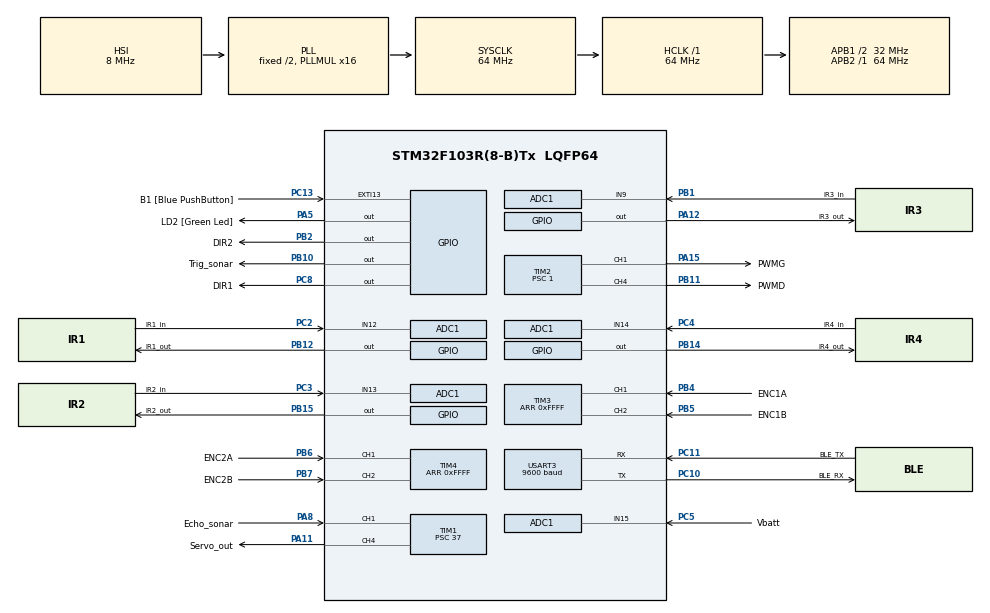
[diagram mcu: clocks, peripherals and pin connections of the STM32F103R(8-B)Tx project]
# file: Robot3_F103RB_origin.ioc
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ADC1.AWD1HighThreshold=4095
ADC1.AWD1ITMode=ENABLE
ADC1.AWD1LowThreshold=3475
ADC1.Channel-0\#ChannelRegularConversion=ADC_CHANNEL_9
ADC1.Channel-1\#ChannelRegularConversion=ADC_CHANNEL_12
ADC1.Channel-2\#ChannelRegularConversion=ADC_CHANNEL_13
ADC1.Channel-3\#ChannelRegularConversion=ADC_CHANNEL_14
ADC1.Channel-4\#ChannelRegularConversion=ADC_CHANNEL_15
ADC1.ContinuousConvMode=DISABLE
ADC1.DataAlign=ADC_DATAALIGN_RIGHT
ADC1.DiscontinuousConvMode=DISABLE
ADC1.EnableAnalogWatchDog=true
ADC1.EnableRegularConversion=ENABLE
ADC1.ExternalTrigConv=ADC_SOFTWARE_START
ADC1.InjNumberOfConversion=0
ADC1.NbrOfConversion=5
ADC1.NbrOfConversionFlag=1
ADC1.Rank-0\#ChannelRegularConversion=1
ADC1.Rank-1\#ChannelRegularConversion=2
ADC1.Rank-2\#ChannelRegularConversion=3
ADC1.Rank-3\#ChannelRegularConversion=4
ADC1.Rank-4\#ChannelRegularConversion=5
ADC1.SamplingTime-0\#ChannelRegularConversion=ADC_SAMPLETIME_239CYCLES_5
ADC1.SamplingTime-1\#ChannelRegularConversion=ADC_SAMPLETIME_239CYCLES_5
ADC1.SamplingTime-2\#ChannelRegularConversion=ADC_SAMPLETIME_239CYCLES_5
ADC1.SamplingTime-3\#ChannelRegularConversion=ADC_SAMPLETIME_239CYCLES_5
ADC1.SamplingTime-4\#ChannelRegularConversion=ADC_SAMPLETIME_239CYCLES_5
ADC1.ScanConvMode=ADC_SCAN_ENABLE
ADC1.WatchdogChannel=ADC_CHANNEL_15
ADC1.master=1
Dma.ADC1.0.Direction=DMA_PERIPH_TO_MEMORY
Dma.ADC1.0.Instance=DMA1_Channel1
Dma.ADC1.0.MemDataAlignment=DMA_MDATAALIGN_HALFWORD
Dma.ADC1.0.MemInc=DMA_MINC_ENABLE
Dma.ADC1.0.Mode=DMA_CIRCULAR
Dma.ADC1.0.PeriphDataAlignment=DMA_PDATAALIGN_HALFWORD
Dma.ADC1.0.PeriphInc=DMA_PINC_DISABLE
Dma.ADC1.0.Priority=DMA_PRIORITY_LOW
Dma.Request0=ADC1
Mcu.Family=STM32F1
Mcu.Name=STM32F103R(8-B)Tx
Mcu.Package=LQFP64
NVIC.ADC1_2_IRQn=true\:0\:0\:false\:false\:true\:true
NVIC.DMA1_Channel1_IRQn=true\:0\:0\:false\:false\:true\:true
NVIC.EXTI15_10_IRQn=true\:0\:0\:false\:true\:true\:1\:true
NVIC.PriorityGroup=NVIC_PRIORITYGROUP_4
NVIC.TIM1_CC_IRQn=true\:0\:0\:false\:false\:true\:true
NVIC.TIM2_IRQn=true\:0\:0\:false\:false\:true\:true
NVIC.USART3_IRQn=true\:0\:0\:false\:true\:true\:2\:true
PA11.GPIO_Label=Servo_out
PA11.GPIO_Speed=GPIO_SPEED_FREQ_HIGH
PA11.Signal=S_TIM1_CH4
PA12.GPIO_Label=IR3_out
PA12.Signal=GPIO_Output
PA13.GPIO_Label=TMS
PA13.Mode=Serial_Wire
PA13.Signal=SYS_JTMS-SWDIO
PA14.GPIO_Label=TCK
PA14.Mode=Serial_Wire
PA14.Signal=SYS_JTCK-SWCLK
PA15.GPIO_Label=PWMG
PA15.Signal=S_TIM2_CH1_ETR
PA2.GPIO_Label=USART_TX
PA2.GPIO_Mode=GPIO_MODE_AF_PP
PA2.GPIO_PuPd=GPIO_NOPULL
PA2.GPIO_Speed=GPIO_SPEED_FREQ_LOW
PA2.Signal=USART2_TX
PA3.GPIO_Label=USART_RX
PA3.GPIO_Mode=GPIO_MODE_AF_PP
PA3.GPIO_PuPd=GPIO_NOPULL
PA3.GPIO_Speed=GPIO_SPEED_FREQ_LOW
PA3.Signal=USART2_RX
PA5.GPIO_Label=LD2 [Green Led]
PA5.GPIO_ModeDefaultOutputPP=GPIO_MODE_OUTPUT_PP
PA5.GPIO_PuPd=GPIO_NOPULL
PA5.GPIO_Speed=GPIO_SPEED_FREQ_LOW
PA5.Signal=GPIO_Output
PA8.GPIO_Label=Echo_sonar
PA8.Signal=S_TIM1_CH1
PB1.GPIO_Label=IR3_in
PB1.Signal=ADCx_IN9
PB10.GPIO_Label=Trig_sonar
PB10.Signal=GPIO_Output
PB11.GPIO_Label=PWMD
PB11.Signal=S_TIM2_CH4
PB12.GPIO_Label=IR1_out
PB12.Signal=GPIO_Output
PB14.GPIO_Label=IR4_out
PB14.Signal=GPIO_Output
PB15.GPIO_Label=IR2_out
PB15.Signal=GPIO_Output
PB2.GPIO_Label=DIR2
PB2.Signal=GPIO_Output
PB3.GPIO_Label=SWO
PB3.Signal=SYS_JTDO-TRACESWO
PB4.GPIO_Label=ENC1A
PB4.Signal=S_TIM3_CH1
PB5.GPIO_Label=ENC1B
PB5.Signal=S_TIM3_CH2
PB6.GPIO_Label=ENC2A
PB6.Signal=S_TIM4_CH1
PB7.GPIO_Label=ENC2B
PB7.Signal=S_TIM4_CH2
PC10.GPIO_Label=BLE_RX
PC10.Mode=Asynchronous
PC10.Signal=USART3_TX
PC11.GPIO_Label=BLE_TX
PC11.Mode=Asynchronous
PC11.Signal=USART3_RX
PC13-TAMPER-RTC.GPIO_Label=B1 [Blue PushButton]
PC13-TAMPER-RTC.GPIO_ModeDefaultEXTI=GPIO_MODE_IT_FALLING
PC13-TAMPER-RTC.GPIO_PuPd=GPIO_NOPULL
PC13-TAMPER-RTC.Signal=GPXTI13
PC14-OSC32_IN.Signal=RCC_OSC32_IN
PC15-OSC32_OUT.Signal=RCC_OSC32_OUT
PC2.GPIO_Label=IR1_in
PC2.Signal=ADCx_IN12
PC3.GPIO_Label=IR2_in
PC3.Signal=ADCx_IN13
PC4.GPIO_Label=IR4_in
PC4.Signal=ADCx_IN14
PC5.GPIO_Label=Vbatt
PC5.Signal=ADCx_IN15
PC8.GPIO_Label=DIR1
PC8.Signal=GPIO_Output
PD0-OSC_IN.Signal=RCC_OSC_IN
PD1-OSC_OUT.Signal=RCC_OSC_OUT
ProjectManager.HeapSize=0x200
ProjectManager.StackSize=0x400
ProjectManager.TargetToolchain=TrueSTUDIO
RCC.ADCPresc=RCC_ADCPCLK2_DIV8
RCC.AHBFreq_Value=64000000
RCC.APB1CLKDivider=RCC_HCLK_DIV2
RCC.APB1Freq_Value=32000000
RCC.APB1TimFreq_Value=64000000
RCC.APB2Freq_Value=64000000
RCC.APB2TimFreq_Value=64000000
RCC.HCLKFreq_Value=64000000
RCC.PLLMUL=RCC_PLL_MUL16
RCC.SYSCLKFreq_VALUE=64000000
RCC.SYSCLKSource=RCC_SYSCLKSOURCE_PLLCLK
RCC.USBFreq_Value=64000000
SH.ADCx_IN12.0=ADC1_IN12,IN12
SH.ADCx_IN13.0=ADC1_IN13,IN13
SH.ADCx_IN14.0=ADC1_IN14,IN14
SH.ADCx_IN15.0=ADC1_IN15,IN15
SH.ADCx_IN9.0=ADC1_IN9,IN9
SH.S_TIM1_CH1.0=TIM1_CH1,PWM_Input_1
SH.S_TIM1_CH4.0=TIM1_CH4,PWM Generation4 CH4
SH.S_TIM2_CH1_ETR.0=TIM2_CH1,PWM Generation1 CH1
SH.S_TIM2_CH4.0=TIM2_CH4,PWM Generation4 CH4
SH.S_TIM3_CH1.0=TIM3_CH1,Encoder_Interface
SH.S_TIM3_CH2.0=TIM3_CH2,Encoder_Interface
SH.S_TIM4_CH1.0=TIM4_CH1,Encoder_Interface
SH.S_TIM4_CH2.0=TIM4_CH2,Encoder_Interface
TIM1.Channel-PWM\ Generation4\ CH4=TIM_CHANNEL_4
TIM1.Period=65535
TIM1.Prescaler=37
TIM2.AutoReloadPreload=TIM_AUTORELOAD_PRELOAD_DISABLE
TIM2.Channel-PWM\ Generation1\ CH1=TIM_CHANNEL_1
TIM2.Channel-PWM\ Generation4\ CH4=TIM_CHANNEL_4
TIM2.Period=64000
TIM2.Prescaler=1
TIM3.AutoReloadPreload=TIM_AUTORELOAD_PRELOAD_ENABLE
TIM3.EncoderMode=TIM_ENCODERMODE_TI12
TIM3.IC1Filter=8
TIM3.IC1Polarity=TIM_ICPOLARITY_RISING
TIM3.IC2Filter=8
TIM3.IC2Polarity=TIM_ICPOLARITY_RISING
TIM3.Period=0xFFFF
TIM4.AutoReloadPreload=TIM_AUTORELOAD_PRELOAD_ENABLE
TIM4.EncoderMode=TIM_ENCODERMODE_TI12
TIM4.IC1Filter=8
TIM4.IC1Polarity=TIM_ICPOLARITY_RISING
TIM4.IC2Filter=8
TIM4.IC2Polarity=TIM_ICPOLARITY_RISING
TIM4.Period=0xFFFF
USART3.BaudRate=9600
USART3.VirtualMode=VM_ASYNC
VP_TIM1_VS_ClockSourceINT.Mode=Internal
VP_TIM2_VS_ClockSourceINT.Mode=Internal
board=NUCLEO-F103RB

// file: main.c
/**
  ******************************************************************************
  * @file           : main.c
  * @brief          : Main program body
  ******************************************************************************
  ** This notice applies to any and all portions of this file
  * that are not between comment pairs USER CODE BEGIN and
  * USER CODE END. Other portions of this file, whether
  * inserted by the user or by software development tools
  * are owned by their respective copyright owners.
  *
  * COPYRIGHT(c) 2019 STMicroelectronics
  *
  * Redistribution and use in source and binary forms, with or without modification,
  * are permitted provided that the following conditions are met:
  *   1. Redistributions of source code must retain the above copyright notice,
  *      this list of conditions and the following disclaimer.
  *   2. Redistributions in binary form must reproduce the above copyright notice,
  *      this list of conditions and the following disclaimer in the documentation
  *      and/or other materials provided with the distribution.
  *   3. Neither the name of STMicroelectronics nor the names of its contributors
  *      may be used to endorse or promote products derived from this software
  *      without specific prior written permission.
  *
  * THIS SOFTWARE IS PROVIDED BY THE COPYRIGHT HOLDERS AND CONTRIBUTORS "AS IS"
  * AND ANY EXPRESS OR IMPLIED WARRANTIES, INCLUDING, BUT NOT LIMITED TO, THE
  * IMPLIED WARRANTIES OF MERCHANTABILITY AND FITNESS FOR A PARTICULAR PURPOSE ARE
  * DISCLAIMED. IN NO EVENT SHALL THE COPYRIGHT HOLDER OR CONTRIBUTORS BE LIABLE
  * FOR ANY DIRECT, INDIRECT, INCIDENTAL, SPECIAL, EXEMPLARY, OR CONSEQUENTIAL
  * DAMAGES (INCLUDING, BUT NOT LIMITED TO, PROCUREMENT OF SUBSTITUTE GOODS OR
  * SERVICES; LOSS OF USE, DATA, OR PROFITS; OR BUSINESS INTERRUPTION) HOWEVER
  * CAUSED AND ON ANY THEORY OF LIABILITY, WHETHER IN CONTRACT, STRICT LIABILITY,
  * OR TORT (INCLUDING NEGLIGENCE OR OTHERWISE) ARISING IN ANY WAY OUT OF THE USE
  * OF THIS SOFTWARE, EVEN IF ADVISED OF THE POSSIBILITY OF SUCH DAMAGE.
  *
  ******************************************************************************
  */
#include "main.h"
#include "stm32f1xx_hal.h"
#include "adc.h"
#include "dma.h"
#include "tim.h"
#include "usart.h"
#include "gpio.h"

/* USER CODE BEGIN Includes */
#include <stdlib.h>
#include <stdio.h>
/* USER CODE END Includes */

/* USER CODE BEGIN PV */
/* Private variables ---------------------------------------------------------*/
#define AVANCE 	GPIO_PIN_SET
#define RECULE  GPIO_PIN_RESET
#define POURCENT 640
#define Seuil_Dist_4 1600 // corespond � 10 cm.
#define Seuil_Dist_3 1600
#define Seuil_Dist_1 1600
#define Seuil_Dist_2 1600
#define V1 38
#define V2 56
#define V3 76
#define Vmax 95
#define T_2_S 1000 //( pwm p�riode = 2 ms )
#define T_200_MS 100
#define T_100_MS 50
#define T_2000_MS 1000
#define CKp_D 120  //80 Robot1
#define CKp_G 100  //80 Robot1
#define CKi_D 80  //50 Robot1
#define CKi_G 80  //50 Robot1
#define CKd_D 0
#define CKd_G 0
#define DELTA 0x50
#define alpha_m90_deg 795 //valeur pour le pilotage de l'angle du servo
#define alpha_0_deg 2000
#define alpha_90_deg 3800
#define T_sonar_11 500
#define T_sonar_1 2000

enum CMDE {
	START,
	STOP,
	AVANT,
	ARRIERE,
	DROITE,
	GAUCHE,
	PARKED,
	ATT_PARK
};
volatile enum CMDE CMDE;
enum MODE {
	SLEEP, ACTIF
};
volatile enum MODE Mode;
volatile unsigned char New_CMDE = 0;
volatile uint16_t Dist_ACS_1, Dist_ACS_2, Dist_ACS_3, Dist_ACS_4;
volatile unsigned int Time = 0;
volatile unsigned int Time_servo = 0;
volatile unsigned int Time_mesure = 0;
volatile unsigned int Tech = 0;
uint16_t adc_buffer[8];
uint16_t Buff_Dist[8];
uint8_t BLUE_RX;

uint16_t _DirG, _DirD, CVitG, CVitD, DirD, DirG;
uint16_t _CVitD = 0;
uint16_t _CVitG = 0;
uint16_t VitD, VitG, DistD, DistG;
uint16_t DistD_old = 0;
uint16_t DistG_old = 0;
int Cmde_VitD = 0;
int Cmde_VitG = 0;
unsigned long Dist_parcours = 0;
volatile uint32_t Dist_Obst;
uint32_t Dist_Obst_;
uint32_t Dist_Obst_cm;
uint32_t Dist;
uint8_t UNE_FOIS = 1;
uint32_t OV = 0;

int8_t choix_xyz = -90; //mesure xyz

volatile uint8_t mesure_0 = 0;
volatile uint8_t mesure_90 = 0;
volatile uint8_t mesure_m90 = 0;

//fonction parked
uint8_t parked_x = 20;
uint8_t parked_y = 150;
uint8_t parked_z = 0;

volatile unsigned char flag_parked = 0;
volatile unsigned char flag_att_park = 0;
volatile int8_t flag_mesure = 0;
volatile unsigned char tempo_sonar = 0;

extern volatile unsigned char flag_awd;

volatile unsigned char Trig_sonar=0;
volatile uint8_t Sonar_last_measure=0; //Flag de calcul de distance possible
//A DELETE�����������������������������������������������������
volatile int8_t flag_mesure_xyz=0;

// ---- Attente parked ----
enum etat_park_list{Avancer50, Tourner90, AvancerAxeYZCons, Tourner902, AvancerAxeXcons, Fin};
volatile enum etat_park_list etat_park = Avancer50;
uint8_t flag_prem_passage = 0;
uint16_t memoire_dist = 0;

// ---- Fin attente park ----

/* USER CODE END PV */

void SystemClock_Config(void);
static void MX_NVIC_Init(void);

/* USER CODE BEGIN PFP */
/* Private function prototypes -----------------------------------------------*/
void Gestion_Commandes(void);
void regulateur(void);
void controle(void);
void Calcul_Vit(void);
void ACS(void);
void mesure_position_robot(void);
void mesure_xyz(int8_t xyz);
void mesure_distance_sonar(void);
void deplacement_to_park(void);
//void rotation_90(char sens_rotation);

/* USER CODE END PFP */

int main(void)
{

  /* MCU Configuration----------------------------------------------------------*/

  /* Reset of all peripherals, Initializes the Flash interface and the Systick. */
  HAL_Init();

  /* USER CODE BEGIN Init */
  Dist_Obst = 0;
  /* USER CODE END Init */

  /* Configure the system clock */
  SystemClock_Config();

  /* Initialize all configured peripherals */
  MX_GPIO_Init();
  MX_DMA_Init();
  MX_ADC1_Init();
  MX_TIM2_Init();
  MX_TIM3_Init();
  MX_TIM4_Init();
  MX_USART3_UART_Init();
  MX_TIM1_Init();

  /* Initialize interrupts */
  MX_NVIC_Init();
  /* USER CODE BEGIN 2 */
  	HAL_SuspendTick(); // suppresion des Tick interrupt pour le mode sleep.

  	HAL_TIM_PWM_Start(&htim1, TIM_CHANNEL_4);  // Start PWM motor
  	HAL_TIM_IC_Start_IT(&htim1, TIM_CHANNEL_1);  // Start input capture motor
  	HAL_TIM_IC_Start(&htim1, TIM_CHANNEL_1);  // Start input capture motor

  	HAL_TIM_IC_Start(&htim1, TIM_CHANNEL_2);  // Start input capture motor
  	HAL_TIM_IC_Start_IT(&htim1, TIM_CHANNEL_2);  // Start input capture motor

  	HAL_TIM_PWM_Start(&htim2, TIM_CHANNEL_4);  // Start PWM motor
  	HAL_TIM_PWM_Start(&htim2, TIM_CHANNEL_1);
  	CMDE = STOP;
  	New_CMDE = 1;
  	HAL_TIM_Base_Start_IT(&htim2);  // Start IT sur font montant PWM
  	HAL_TIM_Encoder_Start(&htim3, TIM_CHANNEL_ALL);
  	HAL_TIM_Encoder_Start(&htim4, TIM_CHANNEL_ALL);
  	HAL_UART_Receive_IT(&huart3, &BLUE_RX, 1);

  /* USER CODE END 2 */

  /* Infinite loop */
  /* USER CODE BEGIN WHILE */

  while (1)
  {
	  //batterie faible
	  if (flag_awd == 1){
		  HAL_GPIO_WritePin(GPIOA, LD2_Pin, GPIO_PIN_SET);
		  flag_awd = 0;
		  Mode = SLEEP;
	  }
	  Gestion_Commandes();
	  controle();

  /* USER CODE END WHILE */

  }

}

void SystemClock_Config(void)
{

  RCC_OscInitTypeDef RCC_OscInitStruct;
  RCC_ClkInitTypeDef RCC_ClkInitStruct;
  RCC_PeriphCLKInitTypeDef PeriphClkInit;

    /**Initializes the CPU, AHB and APB busses clocks
    */
  RCC_OscInitStruct.OscillatorType = RCC_OSCILLATORTYPE_HSI;
  RCC_OscInitStruct.HSIState = RCC_HSI_ON;
  RCC_OscInitStruct.HSICalibrationValue = 16;
  RCC_OscInitStruct.PLL.PLLState = RCC_PLL_ON;
  RCC_OscInitStruct.PLL.PLLSource = RCC_PLLSOURCE_HSI_DIV2;
  RCC_OscInitStruct.PLL.PLLMUL = RCC_PLL_MUL16;
  if (HAL_RCC_OscConfig(&RCC_OscInitStruct) != HAL_OK)
  {
    _Error_Handler(__FILE__, __LINE__);
  }

    /**Initializes the CPU, AHB and APB busses clocks
    */
  RCC_ClkInitStruct.ClockType = RCC_CLOCKTYPE_HCLK|RCC_CLOCKTYPE_SYSCLK
                              |RCC_CLOCKTYPE_PCLK1|RCC_CLOCKTYPE_PCLK2;
  RCC_ClkInitStruct.SYSCLKSource = RCC_SYSCLKSOURCE_PLLCLK;
  RCC_ClkInitStruct.AHBCLKDivider = RCC_SYSCLK_DIV1;
  RCC_ClkInitStruct.APB1CLKDivider = RCC_HCLK_DIV2;
  RCC_ClkInitStruct.APB2CLKDivider = RCC_HCLK_DIV1;

  if (HAL_RCC_ClockConfig(&RCC_ClkInitStruct, FLASH_LATENCY_2) != HAL_OK)
  {
    _Error_Handler(__FILE__, __LINE__);
  }

  PeriphClkInit.PeriphClockSelection = RCC_PERIPHCLK_ADC;
  PeriphClkInit.AdcClockSelection = RCC_ADCPCLK2_DIV8;
  if (HAL_RCCEx_PeriphCLKConfig(&PeriphClkInit) != HAL_OK)
  {
    _Error_Handler(__FILE__, __LINE__);
  }

    /**Configure the Systick interrupt time
    */
  HAL_SYSTICK_Config(HAL_RCC_GetHCLKFreq()/1000);

    /**Configure the Systick
    */
  HAL_SYSTICK_CLKSourceConfig(SYSTICK_CLKSOURCE_HCLK);

  /* SysTick_IRQn interrupt configuration */
  HAL_NVIC_SetPriority(SysTick_IRQn, 0, 0);
}

/**
  * @brief NVIC Configuration.
  * @retval None
  */
static void MX_NVIC_Init(void)
{
  /* EXTI15_10_IRQn interrupt configuration */
  HAL_NVIC_SetPriority(EXTI15_10_IRQn, 0, 0);
  HAL_NVIC_EnableIRQ(EXTI15_10_IRQn);
  /* USART3_IRQn interrupt configuration */
  HAL_NVIC_SetPriority(USART3_IRQn, 0, 0);
  HAL_NVIC_EnableIRQ(USART3_IRQn);
}

/* USER CODE BEGIN 4 */
void Gestion_Commandes(void) {
	enum ETAT {
		VEILLE,
		ARRET,
		AV1,
		AV2,
		AV3,
		RV1,
		RV2,
		RV3,
		DV1,
		DV2,
		DV3,
		GV1,
		GV2,
		GV3
	};
	static enum ETAT Etat = VEILLE;

if (New_CMDE) {
		New_CMDE = 0;
	switch (CMDE) {
		case STOP: {
			_CVitD = _CVitG = 0;
			// Mise en sommeil: STOP mode , r�veil via IT BP1
			Etat = VEILLE;
			Mode = SLEEP;

			break;
		}
		case START: {
			// r�veil syt�me grace � l'IT BP1
			Etat = ARRET;
			Mode = SLEEP;

			break;
		}
		case AVANT: {
			switch (Etat) {
			case VEILLE: {
				Etat = VEILLE;
				Mode = SLEEP;
				break;
			}
			case ARRET: {
				_DirG = AVANCE;
				_DirD = AVANCE;
				_CVitG = V1;
				_CVitD = V1;
				Etat = AV1;
				Mode = ACTIF;
				break;
			}
			case AV1: {
				_DirG = AVANCE;
				_DirD = AVANCE;
				_CVitG = V2;
				_CVitD = V2;
				Etat = AV2;
				Mode = ACTIF;
				break;
			}
			case AV2: {
				_DirG = AVANCE;
				_DirD = AVANCE;
				_CVitG = V3;
				_CVitD = V3 ;
				Etat = AV3;
				Mode = ACTIF;
				break;
			}
			case AV3: {
				_DirG = AVANCE;
				_DirD = AVANCE;
				_CVitG = V3;
				_CVitD = V3 ;
				Etat = AV3;
				Mode = ACTIF;
				break;
			}
			case RV1: {
				_DirG = RECULE;
				_DirD = RECULE;
				_CVitG = 0;
				_CVitD = 0;
				Etat = ARRET;
				Mode = SLEEP;

				break;
			}
			case RV2: {
				_DirG = RECULE;
				_DirD = RECULE;
				_CVitG = V1;
				_CVitD = V1;
				Etat = RV1;
				Mode = ACTIF;
				break;
			}
			case RV3: {
				_DirG = RECULE;
				_DirD = RECULE;
				_CVitG = V2;
				_CVitD = V2;
				Etat = RV2;
				Mode = ACTIF;
				break;
			}
			case DV1: {
				_DirG = AVANCE;
				_DirD = AVANCE;
				_CVitG = V1;
				_CVitD = V1;
				Etat = AV1;
				Mode = ACTIF;
				break;
			}
			case DV2: {
				_DirG = AVANCE;
				_DirD = AVANCE;
				_CVitG = V2;
				_CVitD = V2;
				Etat = AV2;
				Mode = ACTIF;
				break;
			}
			case DV3: {
				_DirG = AVANCE;
				_DirD = AVANCE;
				_CVitG = V3;
				_CVitD = V3;
				Etat = AV3;
				Mode = ACTIF;
				break;
			}
			case GV1: {
				_DirG = AVANCE;
				_DirD = AVANCE;
				_CVitG = V1;
				_CVitD = V1;
				Etat = AV2;
				Mode = ACTIF;
				break;
			}
			case GV2: {
				_DirG = AVANCE;
				_DirD = AVANCE;
				_CVitG = V2;
				_CVitD = V2;
				Etat = AV2;
				Mode = ACTIF;
				break;
			}
			case GV3: {
				_DirG = AVANCE;
				_DirD = AVANCE;
				_CVitG = V3;
				_CVitD = V3;
				Etat = AV3;
				Mode = ACTIF;
				break;
			}
			}
			break;
		}
		case ARRIERE: {
			switch (Etat) {
			case VEILLE: {
				Etat = VEILLE;
				Mode = SLEEP;
				break;
			}
			case ARRET: {
				_DirG = RECULE;
				_DirD = RECULE;
				_CVitG = V1;
				_CVitD = V1;
				Etat = RV1;
				Mode = ACTIF;
				break;
			}
			case AV1: {
				_DirG = AVANCE;
				_DirD = AVANCE;
				_CVitG = 0;
				_CVitD = 0;
				Etat = ARRET;
				Mode = SLEEP;

				break;
			}
			case AV2: {
				_DirG = AVANCE;
				_DirD = AVANCE;
				_CVitG = V1;
				_CVitD = V1;
				Etat = AV1;
				Mode = ACTIF;
				break;
			}
			case AV3: {
				_DirG = AVANCE;
				_DirD = AVANCE;
				_CVitG = V2;
				_CVitD = V2;
				Etat = AV2;
				Mode = ACTIF;
				break;
			}
			case RV1: {
				_DirG = RECULE;
				_DirD = RECULE;
				_CVitG = V2;
				_CVitD = V2;
				Etat = RV2;
				Mode = ACTIF;
				break;
			}
			case RV2: {
				_DirG = RECULE;
				_DirD = RECULE;
				_CVitG = V3;
				_CVitD = V3;
				Etat = RV3;
				Mode = ACTIF;
				break;
			}
			case RV3: {
				_DirG = RECULE;
				_DirD = RECULE;
				_CVitG = V3;
				_CVitD = V3;
				Etat = RV3;
				Mode = ACTIF;
				break;
			}
			case DV1: {
				_DirG = RECULE;
				_DirD = RECULE;
				_CVitG = V1;
				_CVitD = V1;
				Etat = RV1;
				Mode = ACTIF;
				break;
			}
			case DV2: {
				_DirG = RECULE;
				_DirD = RECULE;
				_CVitG = V2;
				_CVitD = V2;
				Etat = RV2;
				Mode = ACTIF;
				break;
			}
			case DV3: {
				_DirG = RECULE;
				_DirD = RECULE;
				_CVitG = V3;
				_CVitD = V3;
				Etat = RV3;
				Mode = ACTIF;
				break;
			}
			case GV1: {
				_DirG = RECULE;
				_DirD = RECULE;
				_CVitG = V1;
				_CVitD = V1;
				Etat = RV1;
				Mode = ACTIF;
				break;
			}
			case GV2: {
				_DirG = RECULE;
				_DirD = RECULE;
				_CVitG = V2;
				_CVitD = V2;
				Etat = RV2;
				Mode = ACTIF;
				break;
			}
			case GV3: {
				_DirG = RECULE;
				_DirD = RECULE;
				_CVitG = V3;
				_CVitD = V3;
				Etat = RV3;
				Mode = ACTIF;
				break;
			}
			}
			break;
		}
		case DROITE: {
			switch (Etat) {
			case VEILLE: {
				Etat = VEILLE;
				Mode = SLEEP;
				break;
			}
			case ARRET: {
				_DirG = AVANCE;
				_DirD = RECULE;
				_CVitG = V1;
				_CVitD = V1;
				Etat = DV1;
				Mode = ACTIF;
				break;
			}
			case AV1: {
				_DirG = AVANCE;
				_DirD = RECULE;
				_CVitG = V1;
				_CVitD = V1;
				Etat = DV1;
				Mode = ACTIF;
				break;
			}
			case AV2: {
				_DirG = AVANCE;
				_DirD = RECULE;
				_CVitG = V2;
				_CVitD = V2;
				Etat = DV2;
				Mode = ACTIF;
				break;
			}
			case AV3: {
				_DirG = AVANCE;
				_DirD = RECULE;
				_CVitG = V3;
				_CVitD = V3;
				Etat = DV3;
				Mode = ACTIF;
				break;
			}
			case RV1: {
				_DirG = AVANCE;
				_DirD = RECULE;
				_CVitG = V1;
				_CVitD = V1;
				Etat = DV1;
				Mode = ACTIF;
				break;
			}
			case RV2: {
				_DirG = AVANCE;
				_DirD = RECULE;
				_CVitG = V2;
				_CVitD = V2;
				Etat = DV2;
				Mode = ACTIF;
				break;
			}
			case RV3: {
				_DirG = AVANCE;
				_DirD = RECULE;
				_CVitG = V3;
				_CVitD = V3;
				Etat = DV3;
				Mode = ACTIF;
				break;
			}
			case DV1: {
				_DirG = AVANCE;
				_DirD = RECULE;
				_CVitG = V2;
				_CVitD = V2;
				Etat = DV2;
				Mode = ACTIF;
				break;
			}
			case DV2: {
				_DirG = AVANCE;
				_DirD = RECULE;
				_CVitG = V3;
				_CVitD = V3;
				Etat = DV3;
				Mode = ACTIF;
				break;
			}
			case DV3: {
				_DirG = AVANCE;
				_DirD = RECULE;
				_CVitG = V3;
				_CVitD = V3;
				Etat = DV3;
				Mode = ACTIF;
				break;
			}
			case GV1: {
				_DirG = RECULE;
				_DirD = RECULE;
				_CVitG = 0;
				_CVitD = 0;
				Etat = ARRET;
				Mode = SLEEP;

				break;
			}
			case GV2: {
				_DirG = RECULE;
				_DirD = AVANCE;
				_CVitG = V1;
				_CVitD = V1;
				Etat = GV1;
				Mode = ACTIF;
				break;
			}
			case GV3: {
				_DirG = RECULE;
				_DirD = AVANCE;
				_CVitG = V2;
				_CVitD = V2;
				Etat = GV2;
				Mode = ACTIF;
				break;
			}
			}
			break;
		}
		case GAUCHE: {
			switch (Etat) {
			case VEILLE: {
				Etat = VEILLE;
				Mode = SLEEP;
				break;
			}
			case ARRET: {
				_DirG = RECULE;
				_DirD = AVANCE;
				_CVitG = V1;
				_CVitD = V1;
				Etat = GV1;
				Mode = ACTIF;
				break;
			}
			case AV1: {
				_DirG = RECULE;
				_DirD = AVANCE;
				_CVitG = V1;
				_CVitD = V1;
				Etat = GV1;
				Mode = ACTIF;
				break;
			}
			case AV2: {
				_DirG = RECULE;
				_DirD = AVANCE;
				_CVitG = V2;
				_CVitD = V2;
				Etat = GV2;
				Mode = ACTIF;
				break;
			}
			case AV3: {
				_DirG = RECULE;
				_DirD = AVANCE;
				_CVitG = V3;
				_CVitD = V3;
				Etat = GV3;
				Mode = ACTIF;
				break;
			}
			case RV1: {
				_DirG = RECULE;
				_DirD = AVANCE;
				_CVitG = V1;
				_CVitD = V1;
				Etat = GV1;
				Mode = ACTIF;
				break;
			}
			case RV2: {
				_DirG = RECULE;
				_DirD = AVANCE;
				_CVitG = V2;
				_CVitD = V2;
				Etat = GV2;
				Mode = ACTIF;
				break;
			}
			case RV3: {
				_DirG = RECULE;
				_DirD = AVANCE;
				_CVitG = V3;
				_CVitD = V3;
				Etat = GV3;
				Mode = ACTIF;
				break;
			}
			case DV1: {
				_DirG = RECULE;
				_DirD = RECULE;
				_CVitG = 0;
				_CVitD = 0;
				Etat = ARRET;
				Mode = SLEEP;

				break;
			}
			case DV2: {
				_DirG = AVANCE;
				_DirD = RECULE;
				_CVitG = V1;
				_CVitD = V1;
				Etat = DV1;
				Mode = ACTIF;
				break;
			}
			case DV3: {
				_DirG = AVANCE;
				_DirD = RECULE;
				_CVitG = V2;
				_CVitD = V2;
				Etat = DV2;
				Mode = ACTIF;
				break;
			}
			case GV1: {
				_DirG = RECULE;
				_DirD = AVANCE;
				_CVitG = V2;
				_CVitD = V2;
				Etat = GV2;
				Mode = ACTIF;
				break;
			}
			case GV2: {
				_DirG = RECULE;
				_DirD = AVANCE;
				_CVitG = V3;
				_CVitD = V3;
				Etat = GV3;
				Mode = ACTIF;
				break;
			}
			case GV3: {
				_DirG = RECULE;
				_DirD = AVANCE;
				_CVitG = V3;
				_CVitD = V3;
				Etat = GV3;
				Mode = ACTIF;
				break;
			}
			}
			break;

		}
		case PARKED: {
			flag_parked = 1;
			break;
		}
		case ATT_PARK: {
			Mode = ACTIF;
			flag_att_park = 1;
			break;
		}
	}
}
}
void controle(void) {

	//Gestion du park
	/*if (rotation_90_test == 1){
		rotation_90(1);
	}*/

	if (flag_parked == 1){
		mesure_position_robot();
	}
	if (flag_mesure == -1){ //cas o� l'on vient de faire une mesure (fin mesure : flag_mesure = -1), on remet � 0 le flag (pr�t pour une nouvelle mesure)
		flag_mesure = 0;
	}
	if (flag_mesure > 0){
		mesure_xyz(choix_xyz);
	}

	if (flag_att_park == 1){
		deplacement_to_park();
	}

	if (Tech >= T_200_MS) {
		Tech = 0;
		ACS();
		Calcul_Vit();
		regulateur();
	}
}

void ACS(void) {
	enum ETAT {
		ARRET, ACTIF
	};
	static enum ETAT Etat = ARRET;
	static uint16_t Delta1 = 0;
	static uint16_t Delta2 = 0;
	static uint16_t Delta3 = 0;
	static uint16_t Delta4 = 0;

	switch (Etat) {
	case ARRET: {
		if (Mode == ACTIF )
			Etat = ACTIF;
		else {
			CVitD = _CVitD;
			CVitG = _CVitG;
			DirD = _DirD;
			DirG = _DirG;
		}
		break;
	}
	case ACTIF: {
		if (Mode == SLEEP)
			Etat = ARRET;
		if (_DirD == AVANCE && _DirG == AVANCE) {
			if ((Dist_ACS_1 < Seuil_Dist_1 - Delta1)
					&& (Dist_ACS_2 < Seuil_Dist_2 - Delta2)) {
				CVitD = _CVitD;
				CVitG = _CVitG;
				DirD = _DirD;
				DirG = _DirG;
				Delta1 = Delta2 = 0;
			} else if ((Dist_ACS_1 < Seuil_Dist_1)
					&& (Dist_ACS_2 > Seuil_Dist_2)) {
				CVitD = V1;
				CVitG = V1;
				DirG = AVANCE;
				DirD = RECULE;
				Delta2 = DELTA;
			} else if ((Dist_ACS_1 > Seuil_Dist_1)
					&& (Dist_ACS_2 < Seuil_Dist_2)) {
				CVitD = V1;
				CVitG = V1;
				DirD = AVANCE;
				DirG = RECULE;
				Delta1 = DELTA;
			} else if ((Dist_ACS_1 > Seuil_Dist_1)
					&& (Dist_ACS_2 > Seuil_Dist_2)) {
				CVitD = 0;
				CVitG = 0;
				DirD = RECULE;
				DirG = RECULE;
			}
		} else if (_DirD == RECULE && _DirG == RECULE) {
			if ((Dist_ACS_3 < Seuil_Dist_3 - Delta3)
					&& (Dist_ACS_4 < Seuil_Dist_4 - Delta4)) {
				CVitD = _CVitD;
				CVitG = _CVitG;
				DirD = _DirD;
				DirG = _DirG;
				Delta3 = Delta4 = 0;
			} else if ((Dist_ACS_3 > Seuil_Dist_3)
					&& (Dist_ACS_4 < Seuil_Dist_4)) {
				CVitD = V1;
				CVitG = V1;
				DirD = AVANCE;
				DirG = RECULE;
				Delta3 = DELTA;
			} else if ((Dist_ACS_3 < Seuil_Dist_3)
					&& (Dist_ACS_4 > Seuil_Dist_4)) {
				CVitD = V1;
				CVitG = V1;
				DirG = AVANCE;
				DirD = RECULE;
				Delta4 = DELTA;
			} else if ((Dist_ACS_3 > Seuil_Dist_3)
					&& (Dist_ACS_4 > Seuil_Dist_4)) {
				CVitD = 0;
				CVitG = 0;
				DirD = RECULE;
				DirG = RECULE;
			}
		} else {
			CVitD = _CVitD;
			CVitG = _CVitG;
			DirD = _DirD;
			DirG = _DirG;
		}
		break;
	}
	}
}

float flag_av_ar = 0;

void deplacement_to_park(void){
	uint16_t current_dist = 0;
	uint16_t dist_to_do = 0;
	switch (etat_park) {
		case Avancer50: {
			if(flag_prem_passage == 0){
				flag_prem_passage = 1;
				memoire_dist = DistG;
			}
			else{
				if(abs(DistG - memoire_dist) < 840){
					_CVitD = V2; _CVitG = V2; _DirD = AVANCE; _DirG = AVANCE;
				}else{
					_CVitD = 0; _CVitG = 0; _DirD = AVANCE; _DirG = AVANCE;
					etat_park = Tourner90;
					flag_prem_passage = 0;
				}
			}
			break;
		}

		case Tourner90:{ //Rotation � 90� dans le sens horaire
			if (flag_prem_passage == 0){
				flag_prem_passage = 1;
				memoire_dist = DistG;
			}
			else{
				if(abs(DistG - memoire_dist) < 480){
					_CVitD = 30; _CVitG = 30; _DirD = RECULE; _DirG = AVANCE;
				}else{
					_CVitD = 0; _CVitG = 0; _DirD = AVANCE; _DirG = AVANCE;
					etat_park = AvancerAxeYZCons;
					flag_prem_passage = 0;
				}
			}
			break;
		}

		case AvancerAxeYZCons:{
			if( flag_prem_passage == 0){ //On effectue la mesure de y
				if (flag_mesure == 0){
					choix_xyz = 0; //Mesure de y
					flag_mesure = 1; //valeur flag pour initialiser mesure_xyz()
				}
				if (flag_mesure == -1){ //quand on a fini la mesure
					flag_prem_passage = 1;
				}
				memoire_dist = DistG;
			}else{
				if(parked_y > 50){
					dist_to_do = abs(mesure_0 - (parked_y - 50));
					if( mesure_0 > parked_y - 50){
						current_dist = (DistG - memoire_dist) * 0.0566;
						_CVitD = V2; _CVitG = V2; _DirD = AVANCE; _DirG = AVANCE;
						if(current_dist > dist_to_do){
							_CVitD = 0; _CVitG = 0; _DirD = AVANCE; _DirG = AVANCE;
							etat_park = Tourner902;
							flag_av_ar = 1;
							flag_prem_passage = 0;
						}
					}else{
						current_dist = (memoire_dist - DistG) * 0.0566;
						_CVitD = V2; _CVitG = V2; _DirD = RECULE; _DirG = RECULE;
						if(current_dist > dist_to_do){
							_CVitD = 0; _CVitG = 0; _DirD = AVANCE; _DirG = AVANCE;
							etat_park = Tourner902;
							flag_av_ar = 0.8;
							flag_prem_passage = 0;
						}
					}
				}else{
					dist_to_do = abs(mesure_0 - (parked_y + 50));
					if( mesure_0 > parked_y + 50){
						current_dist = (DistG - memoire_dist) * 0.0566;
						_CVitD = V2; _CVitG = V2; _DirD = AVANCE; _DirG = AVANCE;
						if(current_dist > dist_to_do){
							_CVitD = 0; _CVitG = 0; _DirD = AVANCE; _DirG = AVANCE;
							etat_park = Tourner902;
							flag_av_ar = 0.7;
							flag_prem_passage = 0;
						}
					}else{
						current_dist = (memoire_dist - DistG) * 0.0566;
						_CVitD = V2; _CVitG = V2; _DirD = RECULE; _DirG = RECULE;
						if(current_dist > dist_to_do){
							_CVitD = 0; _CVitG = 0; _DirD = AVANCE; _DirG = AVANCE;
							etat_park = Tourner902;
							flag_av_ar = 1.3;
							flag_prem_passage = 0;
						}
					}
				}
			}
			break;
		}

		case Tourner902:{ //Rotation � 90� dans le sens antihoraire
			if (flag_prem_passage == 0){
				flag_prem_passage = 1;
				memoire_dist = DistG;
			}
			else{
				if(abs(DistG - memoire_dist) < 480*flag_av_ar){
					_CVitD = 30; _CVitG = 30; _DirD = AVANCE; _DirG = RECULE;
				}else{
					_CVitD = 0; _CVitG = 0; _DirD = AVANCE; _DirG = AVANCE;
					etat_park = AvancerAxeXcons;
					flag_prem_passage = 0;
				}
			}
			break;
		}

		case AvancerAxeXcons:{
			if( flag_prem_passage == 0){ //On effectue la mesure de x
				if (flag_mesure == 0){
					choix_xyz = 0; //Mesure de x
					flag_mesure = 1; //valeur flag pour initialiser mesure_xyz()
				}
				if (flag_mesure == -1){ //quand on a fini la mesure
					flag_prem_passage = 1;
				}
				memoire_dist = DistG;
			}else{
				dist_to_do = mesure_0 - parked_x;
				current_dist = (DistG - memoire_dist) * 0.0566;
				_CVitD = V2; _CVitG = V2; _DirD = AVANCE; _DirG = AVANCE;
				if(current_dist > dist_to_do){
					_CVitD = 0; _CVitG = 0; _DirD = AVANCE; _DirG = AVANCE;
					etat_park = Fin;
					flag_prem_passage = 0;
				}
			}
			break;
		}

		case Fin:{
			flag_att_park = 0;
			Mode = SLEEP;
			break;
		}
	}
}

void Calcul_Vit(void) {

	DistD = __HAL_TIM_GET_COUNTER(&htim3);
	DistG = __HAL_TIM_GET_COUNTER(&htim4);
	VitD = abs(DistD - DistD_old);
	VitG = abs(DistG - DistG_old);
	DistD_old = DistD;
	DistG_old = DistG;
	if (DirD == DirG) {
		Dist_parcours = Dist_parcours + ((VitD + VitG) >> 1);
	}
}

void regulateur(void) {
	enum ETAT {
		ARRET, ACTIF
	};
	static enum ETAT Etat = ARRET;
	uint16_t Kp_D = CKp_D;
	uint16_t Kp_G = CKp_G;
	uint16_t Ki_D = CKi_D;
	uint16_t Ki_G = CKi_G;
	uint16_t Kd_D = CKd_D;
	uint16_t Kd_G = CKd_G;

	static int16_t ErreurD = 0;
	static int16_t ErreurG = 0;
	static int16_t ErreurD_old = 0;
	static int16_t ErreurG_old = 0;
	static int16_t S_erreursD = 0;
	static int16_t S_erreursG = 0;
	static int16_t V_erreurD = 0;
	static int16_t V_erreurG = 0;

	switch (Etat) {
	case ARRET: {
		if (Mode == ACTIF)
			Etat = ACTIF;
		else {
			__HAL_TIM_SET_COMPARE(&htim2, TIM_CHANNEL_4, 0);
			__HAL_TIM_SET_COMPARE(&htim2, TIM_CHANNEL_1, 0);
			HAL_TIM_PWM_Stop(&htim2, TIM_CHANNEL_4);
			HAL_TIM_PWM_Stop(&htim2, TIM_CHANNEL_1);
			HAL_GPIO_WritePin(IR3_out_GPIO_Port, IR3_out_Pin, GPIO_PIN_RESET);
			HAL_GPIO_WritePin(IR4_out_GPIO_Port, IR4_out_Pin, GPIO_PIN_RESET);
			HAL_GPIO_WritePin(IR1_out_GPIO_Port, IR1_out_Pin, GPIO_PIN_RESET);
			HAL_GPIO_WritePin(IR2_out_GPIO_Port, IR2_out_Pin, GPIO_PIN_RESET);

			HAL_PWR_EnterSLEEPMode(PWR_LOWPOWERREGULATOR_ON,
					PWR_SLEEPENTRY_WFI);

			__HAL_TIM_SET_COMPARE(&htim2, TIM_CHANNEL_4, 0);
			__HAL_TIM_SET_COMPARE(&htim2, TIM_CHANNEL_1, 0);
			HAL_TIM_PWM_Start(&htim2, TIM_CHANNEL_4);
			HAL_TIM_PWM_Start(&htim2, TIM_CHANNEL_1);
			Time = 0;
		}
		break;
	}
	case ACTIF: {
		if ((CVitD != 0) && (CVitG != 0))
			Time = 0;
		if ((Mode == SLEEP) && (VitD == 0) && (VitG == 0) && Time > T_2_S)
			Etat = ARRET;
		else {
			ErreurD = CVitD - VitD;
			ErreurG = CVitG - VitG;
			S_erreursD += ErreurD;
			S_erreursG += ErreurG;
			V_erreurD = ErreurD - ErreurD_old;
			V_erreurG = ErreurG - ErreurG_old;
			ErreurD_old = ErreurD;
			ErreurG_old = ErreurG;
			Cmde_VitD = (unsigned int) Kp_D * (int) (ErreurD)
					+ (unsigned int) Ki_D * ((int) S_erreursD)
					+ (unsigned int) Kd_D * (int) V_erreurD;
			Cmde_VitG = (unsigned int) Kp_G * (int) (ErreurG)
					+ (unsigned int) Ki_G * ((int) S_erreursG)
					+ (unsigned int) Kd_G * (int) V_erreurG;

			//Cmde_VitD = _CVitD*640;
			//Cmde_VitG = _CVitG*640;
			//	DirD = _DirD;
			//	DirG= _DirG;

			if (Cmde_VitD < 0)
				Cmde_VitD = 0;
			if (Cmde_VitG < 0)
				Cmde_VitG = 0;
			if (Cmde_VitD > 100 * POURCENT)
				Cmde_VitD = 100 * POURCENT;
			if (Cmde_VitG > 100 * POURCENT)
				Cmde_VitG = 100 * POURCENT;
			__HAL_TIM_SET_COMPARE(&htim2, TIM_CHANNEL_1, (uint16_t ) Cmde_VitG);
			__HAL_TIM_SET_COMPARE(&htim2, TIM_CHANNEL_4, (uint16_t ) Cmde_VitD);
			HAL_GPIO_WritePin(DIR1_GPIO_Port, DIR1_Pin, (GPIO_PinState) DirD);
			HAL_GPIO_WritePin(DIR2_GPIO_Port, DIR2_Pin, (GPIO_PinState) DirG);
		}
		break;
	}
	}
}

/*
void rotation_90(char sens_rotation){ //Si sens_rotation = 1 on tourne de 90� dans le sens horraire sinon dans le sens anti-horraire
	uint32_t nb_top_G;
	uint32_t nb_top_D;

	uint32_t nb_actu_top_D =  __HAL_TIM_GET_COUNTER(&htim3);

	uint32_t d=0;
	uint8_t angle = 0;

	if(flag_debut_rotation == 0){
		Nb_top_init_D =  __HAL_TIM_GET_COUNTER(&htim3); //nb de top au d�but de la rotation
		flag_debut_rotation = 1; //La rotation a commenc�e
	}

	//Gestion de la diff�rence des tops en fonction du sens de rotation
	if (sens_rotation == 0){ //rotation anti-horraire D est en mode avance, les tops s'incr�mentent
		if ( Nb_top_init_D > __HAL_TIM_GET_COUNTER(&htim3) ){ //Il y a eu un overflow du timer
			nb_top_D = 65535 + (nb_actu_top_D - Nb_top_init_D) ; //On compense l'overflow
		} else {
			nb_top_D = nb_actu_top_D - Nb_top_init_D ;
		}
		_CVitD = 20; _CVitG = 20; _DirD = AVANCE; _DirG = RECULE;
	} else{  //rotation horraire D est en mode arri�re, les tops d�cr�mentent
		if ( Nb_top_init_D < __HAL_TIM_GET_COUNTER(&htim3) ){ //Il y a eu un overflow du timer
			nb_top_D = 65535 + Nb_top_init_D - nb_actu_top_D;
		} else {
			nb_top_D = nb_actu_top_D - Nb_top_init_D ; //On compense l'overflow
		}
		_CVitD = 20; _CVitG = 20; _DirD = RECULE; _DirG = AVANCE;
	}
	//angle = 90* d/D
	//DiametreRoue = 6cm
	//d = 360*nb_top_D*DiametreRoue*pi/333*2*180 = 0.0566 *nb_top
	//D = 14.84 cm
	angle = 0.3432 * nb_top_D; //en degr�
	if (angle>110 && angle<114){
		flag_debut_rotation = 0; //Fin de la rotation passage � l'�tat suivant
		rotation_90_test = 0;
		_CVitD = 0; _CVitG = 0;
		_DirD = AVANCE; _DirG = AVANCE;
	}
}*/

void mesure_position_robot(void){
//fonction permettant la mesure en mode commande park des positions x y et z

	if (flag_parked == 1){ //tant qu'on n'a pas fini la mesure des 3 positions

		switch (choix_xyz){
		case -90:
			if (flag_mesure == 0){
				flag_mesure = 1; //valeur flag pour initialiser mesure_xyz()
			}
			if (flag_mesure == -1){ //quand on a fini la mesure, on passe � l'angle suivant
				parked_y = mesure_m90;
				choix_xyz = 0;
			}
			break;
		case 0:
			if (flag_mesure == 0){
				flag_mesure = 1; //valeur flag pour initialiser mesure_xyz()
			}
			if (flag_mesure == -1){ //quand on a fini la mesure, on passe � l'angle suivant
				parked_x = mesure_0;
				choix_xyz = 90;
			}
			break;
		case 90:
			if (flag_mesure == 0){
				flag_mesure = 1; //valeur flag pour initialiser mesure_xyz()
			}
			if (flag_mesure == -1){ //quand on a fini la mesure, on passe � l'angle suivant
				parked_z = mesure_90;
				choix_xyz = -90;
				flag_parked = 0; //on a fini de mesurer x,y,z
			}
			break;
		}
	}
}

void mesure_xyz(int8_t xyz){
//fonction permettant de mesurer la distance x,y ou z du robot � un mur
	Mode = ACTIF ;
	_CVitD = 0; _CVitG = 0;
	_DirD = AVANCE; _DirG = AVANCE;

	if (flag_mesure == 1){
		Time_mesure = 0;
		flag_mesure = 2;
	}

	if (flag_mesure == 2){
		switch (xyz){
		case 0:
			flag_mesure_xyz = 0;
			if(Time_mesure < T_sonar_11){
				__HAL_TIM_SET_COMPARE(&htim1, TIM_CHANNEL_4, alpha_0_deg);
			} else {
				mesure_distance_sonar(); //on lance la mesure du sonar
				if (tempo_sonar == 0){ //quand on a fini la mesure du sonar
					flag_mesure = -1;
					Mode = SLEEP;
				}
			}
			break;
		case -90:
			flag_mesure_xyz = -90;
			if(Time_mesure < T_sonar_1){
				__HAL_TIM_SET_COMPARE(&htim1, TIM_CHANNEL_4, alpha_m90_deg);
			} else {
				mesure_distance_sonar(); //on lance la mesure du sonar
				if (tempo_sonar == 0){ //quand on a fini la mesure du sonar
					flag_mesure = -1;
					Mode = SLEEP;
				}
			}
			break;
		case 90:
			flag_mesure_xyz = 90;
			if(Time_mesure < T_sonar_11){
				__HAL_TIM_SET_COMPARE(&htim1, TIM_CHANNEL_4, alpha_90_deg);
			} else {
				mesure_distance_sonar(); //on lance la mesure du sonar
				if (tempo_sonar == 0){ //quand on a fini la mesure du sonar
					flag_mesure = -1;
					Mode = SLEEP;
				}
			}
			break;
		}
	}
}

void mesure_distance_sonar(void){
	Trig_sonar = 1;
	tempo_sonar = 1;
	HAL_GPIO_WritePin(Trig_sonar_GPIO_Port, Trig_sonar_Pin, (GPIO_PinState) Trig_sonar);

}

//Callback de l'interruption de InputCaptureCompare du timer1
void HAL_TIM_IC_CaptureCallback(TIM_HandleTypeDef *htim) {
	if(htim->Channel==HAL_TIM_ACTIVE_CHANNEL_1){//Front montant de InputComapre
		Trig_sonar = 0; //On arr�te le signal de demande de mesure sonar
		HAL_GPIO_WritePin(Trig_sonar_GPIO_Port, Trig_sonar_Pin, (GPIO_PinState) Trig_sonar);
	}
	else if (htim->Channel==HAL_TIM_ACTIVE_CHANNEL_2){ //Front descendant de InputComapre
		//On divise la valeur mesur�e par une constante (100) afin d'obtenir une distance
		switch (flag_mesure_xyz){
		case 0:
			mesure_0 = (htim->Instance->CCR2)/100;
			tempo_sonar = 0;
			break;
		case -90:
			mesure_m90 = (htim->Instance->CCR2)/100;
			tempo_sonar = 0;
			break;
		case 90:
			mesure_90 = (htim->Instance->CCR2)/100;
			tempo_sonar = 0;
			break;
		}

	}
}

void HAL_UART_RxCpltCallback(UART_HandleTypeDef *huart) {
	if (huart->Instance == USART3) {

		switch (BLUE_RX) {
		case 'F':
			CMDE = AVANT;
			New_CMDE = 1;
			break;

		case 'B':
			CMDE = ARRIERE;
			New_CMDE = 1;
			break;

		case 'L':
			CMDE = GAUCHE;
			New_CMDE = 1;
			break;

		case 'R':
			CMDE = DROITE;
			New_CMDE = 1;
			break;

		case 'D':
			// disconnect bluetooth
			break;

		case 'W':
			CMDE = PARKED;
			New_CMDE = 1;
			break;

		case 'X':
			CMDE = ATT_PARK;
			etat_park = Avancer50;
			flag_prem_passage = 0;
			New_CMDE = 1;

		case 'V':
			flag_mesure = 1;
			break;

		case 'S':
			break;

		default:
			New_CMDE = 0;
		}

		HAL_UART_Receive_IT(&huart3, &BLUE_RX, 1);

	}
}

void HAL_ADC_ConvCpltCallback(ADC_HandleTypeDef *hadc) {

	Dist_ACS_3 = adc_buffer[0] - adc_buffer[5];
	Dist_ACS_4 = adc_buffer[3] - adc_buffer[8];
	Dist_ACS_1 = adc_buffer[1] - adc_buffer[6];
	Dist_ACS_2 = adc_buffer[2] - adc_buffer[7];
	HAL_ADC_Stop_DMA(hadc);
}

void HAL_TIM_PeriodElapsedCallback(TIM_HandleTypeDef * htim) {
	static unsigned char cpt = 0;

	if ( htim->Instance == TIM2) {
		cpt++;
		Time++;
		Tech++;

		if (tempo_sonar == 0){
			Time_mesure++;
		}

		switch (cpt) {
		case 1: {
			HAL_GPIO_WritePin(IR3_out_GPIO_Port, IR3_out_Pin, GPIO_PIN_SET);
			HAL_GPIO_WritePin(IR4_out_GPIO_Port, IR4_out_Pin, GPIO_PIN_SET);
			HAL_GPIO_WritePin(IR1_out_GPIO_Port, IR1_out_Pin, GPIO_PIN_SET);
			HAL_GPIO_WritePin(IR2_out_GPIO_Port, IR2_out_Pin, GPIO_PIN_SET);
			break;
		}
		case 2: {
			HAL_ADC_Start_DMA(&hadc1, (uint32_t *) adc_buffer, 8);
			break;
		}
		case 3: {
			HAL_GPIO_WritePin(IR3_out_GPIO_Port, IR3_out_Pin, GPIO_PIN_RESET);
			HAL_GPIO_WritePin(IR4_out_GPIO_Port, IR4_out_Pin, GPIO_PIN_RESET);
			HAL_GPIO_WritePin(IR1_out_GPIO_Port, IR1_out_Pin, GPIO_PIN_RESET);
			HAL_GPIO_WritePin(IR2_out_GPIO_Port, IR2_out_Pin, GPIO_PIN_RESET);
			break;
		}
		case 4: {
			HAL_ADC_Start_DMA(&hadc1, (uint32_t *) adc_buffer, 8);
			break;
		}
		default:
			cpt = 0;
		}
	}
}

void HAL_GPIO_EXTI_Callback(uint16_t GPIO_Pin) {

	static unsigned char TOGGLE = 0;

	if (TOGGLE)
		CMDE = STOP;
	else
		CMDE = START;
	TOGGLE = ~TOGGLE;
	New_CMDE = 1;

}
/* USER CODE END 4 */

void _Error_Handler(char *file, int line)
{
  while(1)
  {
  }
}

/************************ (C) COPYRIGHT STMicroelectronics *****END OF FILE****/
